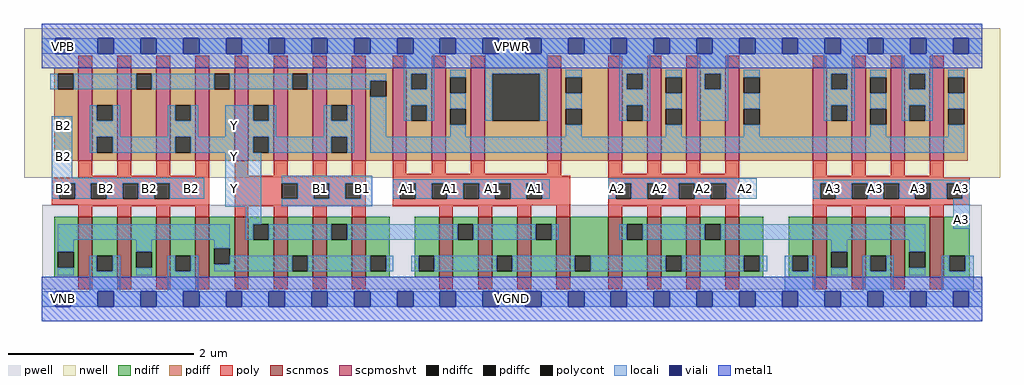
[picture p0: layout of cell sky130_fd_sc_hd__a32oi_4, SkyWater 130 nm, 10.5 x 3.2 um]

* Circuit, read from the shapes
.subckt sky130_fd_sc_hd__a32oi_4 A1 A2 A3 B1 B2 VGND VNB VPB VPWR Y
XM1 VGND B2 n1 VNB sky130_fd_pr__nfet_01v8 w=0.65 l=0.15 m=4
XM2 Y B1 n1 VNB sky130_fd_pr__nfet_01v8 w=0.65 l=0.15 m=4
XM3 Y A1 n2 VNB sky130_fd_pr__nfet_01v8 w=0.65 l=0.15 m=4
XM4 n3 A2 n2 VNB sky130_fd_pr__nfet_01v8 w=0.65 l=0.15 m=4
XM5 n3 A3 VGND VNB sky130_fd_pr__nfet_01v8 w=0.65 l=0.15 m=4
XM6 Y B2 n4 VPB sky130_fd_pr__pfet_01v8_hvt w=1 l=0.15 m=4
XM7 Y B1 n4 VPB sky130_fd_pr__pfet_01v8_hvt w=1 l=0.15 m=4
XM8 VPWR A1 n4 VPB sky130_fd_pr__pfet_01v8_hvt w=1 l=0.15 m=4
XM9 VPWR A2 n4 VPB sky130_fd_pr__pfet_01v8_hvt w=1 l=0.15 m=4
XM10 VPWR A3 n4 VPB sky130_fd_pr__pfet_01v8_hvt w=1 l=0.15 m=4
.ends

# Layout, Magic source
magic
tech sky130A
magscale 1 2
<< nwell >>
rect -38 261 2062 582
<< pwell >>
rect 1 21 2023 203
rect 30 -17 64 21
<< scnmos >>
rect 79 47 109 177
rect 163 47 193 177
rect 247 47 277 177
rect 331 47 361 177
rect 415 47 445 177
rect 499 47 529 177
rect 583 47 613 177
rect 667 47 697 177
rect 855 47 885 177
rect 939 47 969 177
rect 1023 47 1053 177
rect 1107 47 1137 177
rect 1219 47 1249 177
rect 1303 47 1333 177
rect 1387 47 1417 177
rect 1471 47 1501 177
rect 1659 47 1689 177
rect 1743 47 1773 177
rect 1827 47 1857 177
rect 1911 47 1941 177
<< scpmoshvt >>
rect 79 297 109 497
rect 163 297 193 497
rect 247 297 277 497
rect 331 297 361 497
rect 415 297 445 497
rect 499 297 529 497
rect 583 297 613 497
rect 667 297 697 497
rect 755 297 785 497
rect 839 297 869 497
rect 923 297 953 497
rect 1088 297 1118 497
rect 1219 297 1249 497
rect 1303 297 1333 497
rect 1387 297 1417 497
rect 1471 297 1501 497
rect 1659 297 1689 497
rect 1743 297 1773 497
rect 1827 297 1857 497
rect 1911 297 1941 497
<< ndiff >>
rect 27 101 79 177
rect 27 67 35 101
rect 69 67 79 101
rect 27 47 79 67
rect 109 93 163 177
rect 109 59 119 93
rect 153 59 163 93
rect 109 47 163 59
rect 193 101 247 177
rect 193 67 203 101
rect 237 67 247 101
rect 193 47 247 67
rect 277 93 331 177
rect 277 59 287 93
rect 321 59 331 93
rect 277 47 331 59
rect 361 109 415 177
rect 361 75 371 109
rect 405 75 415 109
rect 361 47 415 75
rect 445 161 499 177
rect 445 127 455 161
rect 489 127 499 161
rect 445 47 499 127
rect 529 93 583 177
rect 529 59 539 93
rect 573 59 583 93
rect 529 47 583 59
rect 613 161 667 177
rect 613 127 623 161
rect 657 127 667 161
rect 613 47 667 127
rect 697 93 749 177
rect 697 59 707 93
rect 741 59 749 93
rect 697 47 749 59
rect 803 93 855 177
rect 803 59 811 93
rect 845 59 855 93
rect 803 47 855 59
rect 885 161 939 177
rect 885 127 895 161
rect 929 127 939 161
rect 885 47 939 127
rect 969 93 1023 177
rect 969 59 979 93
rect 1013 59 1023 93
rect 969 47 1023 59
rect 1053 161 1107 177
rect 1053 127 1063 161
rect 1097 127 1107 161
rect 1053 47 1107 127
rect 1137 93 1219 177
rect 1137 59 1147 93
rect 1181 59 1219 93
rect 1137 47 1219 59
rect 1249 161 1303 177
rect 1249 127 1259 161
rect 1293 127 1303 161
rect 1249 47 1303 127
rect 1333 93 1387 177
rect 1333 59 1343 93
rect 1377 59 1387 93
rect 1333 47 1387 59
rect 1417 161 1471 177
rect 1417 127 1427 161
rect 1461 127 1471 161
rect 1417 47 1471 127
rect 1501 93 1553 177
rect 1501 59 1511 93
rect 1545 59 1553 93
rect 1501 47 1553 59
rect 1607 93 1659 177
rect 1607 59 1615 93
rect 1649 59 1659 93
rect 1607 47 1659 59
rect 1689 101 1743 177
rect 1689 67 1699 101
rect 1733 67 1743 101
rect 1689 47 1743 67
rect 1773 93 1827 177
rect 1773 59 1783 93
rect 1817 59 1827 93
rect 1773 47 1827 59
rect 1857 101 1911 177
rect 1857 67 1867 101
rect 1901 67 1911 101
rect 1857 47 1911 67
rect 1941 93 1997 177
rect 1941 59 1953 93
rect 1987 59 1997 93
rect 1941 47 1997 59
<< pdiff >>
rect 27 485 79 497
rect 27 451 35 485
rect 69 451 79 485
rect 27 297 79 451
rect 109 417 163 497
rect 109 383 119 417
rect 153 383 163 417
rect 109 349 163 383
rect 109 315 119 349
rect 153 315 163 349
rect 109 297 163 315
rect 193 485 247 497
rect 193 451 203 485
rect 237 451 247 485
rect 193 297 247 451
rect 277 417 331 497
rect 277 383 287 417
rect 321 383 331 417
rect 277 349 331 383
rect 277 315 287 349
rect 321 315 331 349
rect 277 297 331 315
rect 361 485 415 497
rect 361 451 371 485
rect 405 451 415 485
rect 361 297 415 451
rect 445 417 499 497
rect 445 383 455 417
rect 489 383 499 417
rect 445 349 499 383
rect 445 315 455 349
rect 489 315 499 349
rect 445 297 499 315
rect 529 485 583 497
rect 529 451 539 485
rect 573 451 583 485
rect 529 297 583 451
rect 613 417 667 497
rect 613 383 623 417
rect 657 383 667 417
rect 613 349 667 383
rect 613 315 623 349
rect 657 315 667 349
rect 613 297 667 315
rect 697 469 755 497
rect 697 435 707 469
rect 741 435 755 469
rect 697 297 755 435
rect 785 485 839 497
rect 785 451 795 485
rect 829 451 839 485
rect 785 417 839 451
rect 785 383 795 417
rect 829 383 839 417
rect 785 297 839 383
rect 869 477 923 497
rect 869 443 879 477
rect 913 443 923 477
rect 869 409 923 443
rect 869 375 879 409
rect 913 375 923 409
rect 869 297 923 375
rect 953 485 1088 497
rect 953 383 970 485
rect 1072 383 1088 485
rect 953 297 1088 383
rect 1118 477 1219 497
rect 1118 443 1128 477
rect 1162 443 1219 477
rect 1118 409 1219 443
rect 1118 375 1128 409
rect 1162 375 1219 409
rect 1118 297 1219 375
rect 1249 485 1303 497
rect 1249 451 1259 485
rect 1293 451 1303 485
rect 1249 417 1303 451
rect 1249 383 1259 417
rect 1293 383 1303 417
rect 1249 297 1303 383
rect 1333 477 1387 497
rect 1333 443 1343 477
rect 1377 443 1387 477
rect 1333 409 1387 443
rect 1333 375 1343 409
rect 1377 375 1387 409
rect 1333 297 1387 375
rect 1417 485 1471 497
rect 1417 451 1427 485
rect 1461 451 1471 485
rect 1417 297 1471 451
rect 1501 477 1659 497
rect 1501 443 1511 477
rect 1545 443 1659 477
rect 1501 409 1659 443
rect 1501 375 1511 409
rect 1545 375 1659 409
rect 1501 297 1659 375
rect 1689 485 1743 497
rect 1689 451 1699 485
rect 1733 451 1743 485
rect 1689 417 1743 451
rect 1689 383 1699 417
rect 1733 383 1743 417
rect 1689 297 1743 383
rect 1773 477 1827 497
rect 1773 443 1783 477
rect 1817 443 1827 477
rect 1773 409 1827 443
rect 1773 375 1783 409
rect 1817 375 1827 409
rect 1773 297 1827 375
rect 1857 485 1911 497
rect 1857 451 1867 485
rect 1901 451 1911 485
rect 1857 417 1911 451
rect 1857 383 1867 417
rect 1901 383 1911 417
rect 1857 297 1911 383
rect 1941 477 1993 497
rect 1941 443 1951 477
rect 1985 443 1993 477
rect 1941 409 1993 443
rect 1941 375 1951 409
rect 1985 375 1993 409
rect 1941 297 1993 375
<< ndiffc >>
rect 35 67 69 101
rect 119 59 153 93
rect 203 67 237 101
rect 287 59 321 93
rect 371 75 405 109
rect 455 127 489 161
rect 539 59 573 93
rect 623 127 657 161
rect 707 59 741 93
rect 811 59 845 93
rect 895 127 929 161
rect 979 59 1013 93
rect 1063 127 1097 161
rect 1147 59 1181 93
rect 1259 127 1293 161
rect 1343 59 1377 93
rect 1427 127 1461 161
rect 1511 59 1545 93
rect 1615 59 1649 93
rect 1699 67 1733 101
rect 1783 59 1817 93
rect 1867 67 1901 101
rect 1953 59 1987 93
<< pdiffc >>
rect 35 451 69 485
rect 119 383 153 417
rect 119 315 153 349
rect 203 451 237 485
rect 287 383 321 417
rect 287 315 321 349
rect 371 451 405 485
rect 455 383 489 417
rect 455 315 489 349
rect 539 451 573 485
rect 623 383 657 417
rect 623 315 657 349
rect 707 435 741 469
rect 795 451 829 485
rect 795 383 829 417
rect 879 443 913 477
rect 879 375 913 409
rect 970 383 1072 485
rect 1128 443 1162 477
rect 1128 375 1162 409
rect 1259 451 1293 485
rect 1259 383 1293 417
rect 1343 443 1377 477
rect 1343 375 1377 409
rect 1427 451 1461 485
rect 1511 443 1545 477
rect 1511 375 1545 409
rect 1699 451 1733 485
rect 1699 383 1733 417
rect 1783 443 1817 477
rect 1783 375 1817 409
rect 1867 451 1901 485
rect 1867 383 1901 417
rect 1951 443 1985 477
rect 1951 375 1985 409
<< poly >>
rect 79 497 109 523
rect 163 497 193 523
rect 247 497 277 523
rect 331 497 361 523
rect 415 497 445 523
rect 499 497 529 523
rect 583 497 613 523
rect 667 497 697 523
rect 755 497 785 523
rect 839 497 869 523
rect 923 497 953 523
rect 1088 497 1118 523
rect 1219 497 1249 523
rect 1303 497 1333 523
rect 1387 497 1417 523
rect 1471 497 1501 523
rect 1659 497 1689 523
rect 1743 497 1773 523
rect 1827 497 1857 523
rect 1911 497 1941 523
rect 79 265 109 297
rect 163 265 193 297
rect 247 265 277 297
rect 331 265 361 297
rect 79 261 361 265
rect 22 249 361 261
rect 22 215 38 249
rect 72 215 106 249
rect 140 215 174 249
rect 208 215 242 249
rect 276 215 361 249
rect 22 203 361 215
rect 79 199 361 203
rect 79 177 109 199
rect 163 177 193 199
rect 247 177 277 199
rect 331 177 361 199
rect 415 265 445 297
rect 499 265 529 297
rect 583 265 613 297
rect 667 265 697 297
rect 415 249 697 265
rect 415 215 517 249
rect 551 215 585 249
rect 619 215 653 249
rect 687 215 697 249
rect 415 199 697 215
rect 755 269 785 297
rect 839 269 869 297
rect 923 269 953 297
rect 1088 269 1118 297
rect 755 265 1118 269
rect 1219 269 1249 297
rect 1303 269 1333 297
rect 1387 269 1417 297
rect 1471 269 1501 297
rect 755 249 1137 265
rect 755 215 771 249
rect 805 215 839 249
rect 873 215 907 249
rect 941 215 975 249
rect 1009 215 1043 249
rect 1077 215 1137 249
rect 755 202 1137 215
rect 755 199 1053 202
rect 415 177 445 199
rect 499 177 529 199
rect 583 177 613 199
rect 667 177 697 199
rect 855 177 885 199
rect 939 177 969 199
rect 1023 177 1053 199
rect 1107 177 1137 202
rect 1219 249 1501 269
rect 1219 215 1235 249
rect 1269 215 1303 249
rect 1337 215 1371 249
rect 1405 215 1439 249
rect 1473 215 1501 249
rect 1219 202 1501 215
rect 1219 199 1417 202
rect 1219 177 1249 199
rect 1303 177 1333 199
rect 1387 177 1417 199
rect 1471 177 1501 202
rect 1659 265 1689 297
rect 1743 265 1773 297
rect 1827 265 1857 297
rect 1911 265 1941 297
rect 1659 261 1941 265
rect 1659 249 1997 261
rect 1659 215 1675 249
rect 1709 215 1743 249
rect 1777 215 1811 249
rect 1845 215 1879 249
rect 1913 215 1947 249
rect 1981 215 1997 249
rect 1659 203 1997 215
rect 1659 199 1941 203
rect 1659 177 1689 199
rect 1743 177 1773 199
rect 1827 177 1857 199
rect 1911 177 1941 199
rect 79 21 109 47
rect 163 21 193 47
rect 247 21 277 47
rect 331 21 361 47
rect 415 21 445 47
rect 499 21 529 47
rect 583 21 613 47
rect 667 21 697 47
rect 855 21 885 47
rect 939 21 969 47
rect 1023 21 1053 47
rect 1107 21 1137 47
rect 1219 21 1249 47
rect 1303 21 1333 47
rect 1387 21 1417 47
rect 1471 21 1501 47
rect 1659 21 1689 47
rect 1743 21 1773 47
rect 1827 21 1857 47
rect 1911 21 1941 47
<< polycont >>
rect 38 215 72 249
rect 106 215 140 249
rect 174 215 208 249
rect 242 215 276 249
rect 517 215 551 249
rect 585 215 619 249
rect 653 215 687 249
rect 771 215 805 249
rect 839 215 873 249
rect 907 215 941 249
rect 975 215 1009 249
rect 1043 215 1077 249
rect 1235 215 1269 249
rect 1303 215 1337 249
rect 1371 215 1405 249
rect 1439 215 1473 249
rect 1675 215 1709 249
rect 1743 215 1777 249
rect 1811 215 1845 249
rect 1879 215 1913 249
rect 1947 215 1981 249
<< locali >>
rect 0 527 29 561
rect 63 527 121 561
rect 155 527 213 561
rect 247 527 305 561
rect 339 527 397 561
rect 431 527 489 561
rect 523 527 581 561
rect 615 527 673 561
rect 707 527 765 561
rect 799 527 857 561
rect 891 527 949 561
rect 983 527 1041 561
rect 1075 527 1133 561
rect 1167 527 1225 561
rect 1259 527 1317 561
rect 1351 527 1409 561
rect 1443 527 1501 561
rect 1535 527 1593 561
rect 1627 527 1685 561
rect 1719 527 1777 561
rect 1811 527 1869 561
rect 1903 527 1961 561
rect 1995 527 2024 561
rect 779 485 845 527
rect 19 451 35 485
rect 69 451 203 485
rect 237 451 371 485
rect 405 451 539 485
rect 573 469 741 485
rect 573 451 707 469
rect 22 261 66 393
rect 103 383 119 417
rect 153 383 169 417
rect 103 349 169 383
rect 271 383 287 417
rect 321 383 337 417
rect 271 349 337 383
rect 395 383 455 417
rect 489 383 505 417
rect 395 349 505 383
rect 607 383 623 417
rect 657 383 673 417
rect 607 349 673 383
rect 103 315 119 349
rect 153 315 287 349
rect 321 315 455 349
rect 489 315 623 349
rect 657 315 673 349
rect 707 349 741 435
rect 779 451 795 485
rect 829 451 845 485
rect 779 417 845 451
rect 779 383 795 417
rect 829 383 845 417
rect 879 477 913 493
rect 879 409 913 443
rect 954 485 1088 527
rect 954 383 970 485
rect 1072 383 1088 485
rect 1128 477 1162 493
rect 1128 409 1162 443
rect 879 349 913 375
rect 1243 485 1309 527
rect 1243 451 1259 485
rect 1293 451 1309 485
rect 1243 417 1309 451
rect 1243 383 1259 417
rect 1293 383 1309 417
rect 1343 477 1377 493
rect 1343 409 1377 443
rect 1128 349 1162 375
rect 1411 485 1477 527
rect 1411 451 1427 485
rect 1461 451 1477 485
rect 1411 383 1477 451
rect 1511 477 1545 493
rect 1511 409 1545 443
rect 1343 349 1377 375
rect 1683 485 1749 527
rect 1683 451 1699 485
rect 1733 451 1749 485
rect 1683 417 1749 451
rect 1683 383 1699 417
rect 1733 383 1749 417
rect 1783 477 1817 493
rect 1783 409 1817 443
rect 1511 349 1545 375
rect 1851 485 1917 527
rect 1851 451 1867 485
rect 1901 451 1917 485
rect 1851 417 1917 451
rect 1851 383 1867 417
rect 1901 383 1917 417
rect 1951 477 1985 493
rect 1951 409 1985 443
rect 1783 349 1817 375
rect 1951 349 1985 375
rect 707 315 1985 349
rect 22 249 350 261
rect 22 215 38 249
rect 72 215 106 249
rect 140 215 174 249
rect 208 215 242 249
rect 276 215 350 249
rect 395 198 473 315
rect 517 249 711 265
rect 551 215 585 249
rect 619 215 653 249
rect 687 215 711 249
rect 755 249 1093 257
rect 755 215 771 249
rect 805 215 839 249
rect 873 215 907 249
rect 941 215 975 249
rect 1009 215 1043 249
rect 1077 215 1093 249
rect 1219 249 1539 260
rect 1219 215 1235 249
rect 1269 215 1303 249
rect 1337 215 1371 249
rect 1405 215 1439 249
rect 1473 215 1539 249
rect 1659 249 1997 256
rect 1659 215 1675 249
rect 1709 215 1743 249
rect 1777 215 1811 249
rect 1845 215 1879 249
rect 1913 215 1947 249
rect 1981 215 1997 249
rect 517 199 711 215
rect 439 161 473 198
rect 35 127 405 161
rect 439 127 455 161
rect 489 127 623 161
rect 657 127 895 161
rect 929 127 1063 161
rect 1097 127 1113 161
rect 1243 127 1259 161
rect 1293 127 1427 161
rect 1461 127 1901 161
rect 1961 151 1997 215
rect 35 101 69 127
rect 203 101 237 127
rect 35 51 69 67
rect 103 59 119 93
rect 153 59 169 93
rect 103 17 169 59
rect 371 109 405 127
rect 203 51 237 67
rect 271 59 287 93
rect 321 59 337 93
rect 1699 101 1733 127
rect 405 75 539 93
rect 371 59 539 75
rect 573 59 707 93
rect 741 59 757 93
rect 795 59 811 93
rect 845 59 979 93
rect 1013 59 1147 93
rect 1181 59 1343 93
rect 1377 59 1511 93
rect 1545 59 1561 93
rect 1599 59 1615 93
rect 1649 59 1665 93
rect 271 17 337 59
rect 1599 17 1665 59
rect 1867 101 1901 127
rect 1699 51 1733 67
rect 1767 59 1783 93
rect 1817 59 1833 93
rect 1767 17 1833 59
rect 1867 51 1901 67
rect 1937 59 1953 93
rect 1987 59 2005 93
rect 1937 17 2005 59
rect 0 -17 29 17
rect 63 -17 121 17
rect 155 -17 213 17
rect 247 -17 305 17
rect 339 -17 397 17
rect 431 -17 489 17
rect 523 -17 581 17
rect 615 -17 673 17
rect 707 -17 765 17
rect 799 -17 857 17
rect 891 -17 949 17
rect 983 -17 1041 17
rect 1075 -17 1133 17
rect 1167 -17 1225 17
rect 1259 -17 1317 17
rect 1351 -17 1409 17
rect 1443 -17 1501 17
rect 1535 -17 1593 17
rect 1627 -17 1685 17
rect 1719 -17 1777 17
rect 1811 -17 1869 17
rect 1903 -17 1961 17
rect 1995 -17 2024 17
<< viali >>
rect 29 527 63 561
rect 121 527 155 561
rect 213 527 247 561
rect 305 527 339 561
rect 397 527 431 561
rect 489 527 523 561
rect 581 527 615 561
rect 673 527 707 561
rect 765 527 799 561
rect 857 527 891 561
rect 949 527 983 561
rect 1041 527 1075 561
rect 1133 527 1167 561
rect 1225 527 1259 561
rect 1317 527 1351 561
rect 1409 527 1443 561
rect 1501 527 1535 561
rect 1593 527 1627 561
rect 1685 527 1719 561
rect 1777 527 1811 561
rect 1869 527 1903 561
rect 1961 527 1995 561
rect 29 -17 63 17
rect 121 -17 155 17
rect 213 -17 247 17
rect 305 -17 339 17
rect 397 -17 431 17
rect 489 -17 523 17
rect 581 -17 615 17
rect 673 -17 707 17
rect 765 -17 799 17
rect 857 -17 891 17
rect 949 -17 983 17
rect 1041 -17 1075 17
rect 1133 -17 1167 17
rect 1225 -17 1259 17
rect 1317 -17 1351 17
rect 1409 -17 1443 17
rect 1501 -17 1535 17
rect 1593 -17 1627 17
rect 1685 -17 1719 17
rect 1777 -17 1811 17
rect 1869 -17 1903 17
rect 1961 -17 1995 17
<< metal1 >>
rect 0 561 2024 592
rect 0 527 29 561
rect 63 527 121 561
rect 155 527 213 561
rect 247 527 305 561
rect 339 527 397 561
rect 431 527 489 561
rect 523 527 581 561
rect 615 527 673 561
rect 707 527 765 561
rect 799 527 857 561
rect 891 527 949 561
rect 983 527 1041 561
rect 1075 527 1133 561
rect 1167 527 1225 561
rect 1259 527 1317 561
rect 1351 527 1409 561
rect 1443 527 1501 561
rect 1535 527 1593 561
rect 1627 527 1685 561
rect 1719 527 1777 561
rect 1811 527 1869 561
rect 1903 527 1961 561
rect 1995 527 2024 561
rect 0 496 2024 527
rect 0 17 2024 48
rect 0 -17 29 17
rect 63 -17 121 17
rect 155 -17 213 17
rect 247 -17 305 17
rect 339 -17 397 17
rect 431 -17 489 17
rect 523 -17 581 17
rect 615 -17 673 17
rect 707 -17 765 17
rect 799 -17 857 17
rect 891 -17 949 17
rect 983 -17 1041 17
rect 1075 -17 1133 17
rect 1167 -17 1225 17
rect 1259 -17 1317 17
rect 1351 -17 1409 17
rect 1443 -17 1501 17
rect 1535 -17 1593 17
rect 1627 -17 1685 17
rect 1719 -17 1777 17
rect 1811 -17 1869 17
rect 1903 -17 1961 17
rect 1995 -17 2024 17
rect 0 -48 2024 -17
<< labels >>
flabel locali s 1962 221 1996 255 0 FreeSans 200 0 0 0 A3
port 3 nsew signal input
flabel locali s 1870 221 1904 255 0 FreeSans 200 0 0 0 A3
port 3 nsew signal input
flabel locali s 1778 221 1812 255 0 FreeSans 200 0 0 0 A3
port 3 nsew signal input
flabel locali s 1686 221 1720 255 0 FreeSans 200 0 0 0 A3
port 3 nsew signal input
flabel locali s 1498 221 1532 255 0 FreeSans 200 0 0 0 A2
port 2 nsew signal input
flabel locali s 1406 221 1440 255 0 FreeSans 200 0 0 0 A2
port 2 nsew signal input
flabel locali s 1314 221 1348 255 0 FreeSans 200 0 0 0 A2
port 2 nsew signal input
flabel locali s 1222 221 1256 255 0 FreeSans 200 0 0 0 A2
port 2 nsew signal input
flabel locali s 954 221 988 255 0 FreeSans 200 0 0 0 A1
port 1 nsew signal input
flabel locali s 862 221 896 255 0 FreeSans 200 0 0 0 A1
port 1 nsew signal input
flabel locali s 770 221 804 255 0 FreeSans 200 0 0 0 A1
port 1 nsew signal input
flabel locali s 1962 153 1996 187 0 FreeSans 200 0 0 0 A3
port 3 nsew signal input
flabel locali s 674 221 708 255 0 FreeSans 200 0 0 0 B1
port 4 nsew signal input
flabel locali s 398 357 432 391 0 FreeSans 200 0 0 0 Y
port 10 nsew signal output
flabel locali s 30 221 64 255 0 FreeSans 200 0 0 0 B2
port 5 nsew signal input
flabel locali s 214 221 248 255 0 FreeSans 200 0 0 0 B2
port 5 nsew signal input
flabel locali s 122 221 156 255 0 FreeSans 200 0 0 0 B2
port 5 nsew signal input
flabel locali s 30 289 64 323 0 FreeSans 200 0 0 0 B2
port 5 nsew signal input
flabel locali s 30 357 64 391 0 FreeSans 200 0 0 0 B2
port 5 nsew signal input
flabel locali s 306 221 340 255 0 FreeSans 200 0 0 0 B2
port 5 nsew signal input
flabel locali s 398 221 432 255 0 FreeSans 200 0 0 0 Y
port 10 nsew signal output
flabel locali s 398 289 432 323 0 FreeSans 200 0 0 0 Y
port 10 nsew signal output
flabel locali s 582 221 616 255 0 FreeSans 200 0 0 0 B1
port 4 nsew signal input
flabel locali s 1046 221 1080 255 0 FreeSans 200 0 0 0 A1
port 1 nsew signal input
flabel pwell s 30 -17 64 17 0 FreeSans 200 0 0 0 VNB
port 7 nsew ground bidirectional
flabel pwell s 47 0 47 0 0 FreeSans 200 0 0 0 VNB
flabel nwell s 30 527 64 561 0 FreeSans 200 0 0 0 VPB
port 8 nsew power bidirectional
flabel nwell s 47 544 47 544 0 FreeSans 200 0 0 0 VPB
flabel metal1 s 30 -17 64 17 0 FreeSans 200 0 0 0 VGND
port 6 nsew ground bidirectional abutment
flabel metal1 s 46 0 46 0 0 FreeSans 200 0 0 0 VGND
flabel metal1 s 30 527 64 561 0 FreeSans 200 0 0 0 VPWR
port 9 nsew power bidirectional abutment
flabel metal1 s 46 544 46 544 0 FreeSans 200 0 0 0 VPWR
rlabel comment s 0 0 0 0 4 a32oi_4
rlabel metal1 s 0 -48 2024 48 1 VGND
port 6 nsew ground bidirectional abutment
rlabel metal1 s 0 496 2024 592 1 VPWR
port 9 nsew power bidirectional abutment
<< properties >>
string FIXED_BBOX 0 0 2024 544
string GDS_END 3501186
string GDS_FILE $PDKPATH/libs.ref/sky130_fd_sc_hd/gds/sky130_fd_sc_hd.gds
string GDS_START 3485012
string LEFclass CORE
string LEFsite unithd
string LEFsymmetry X Y R90
<< end >>
